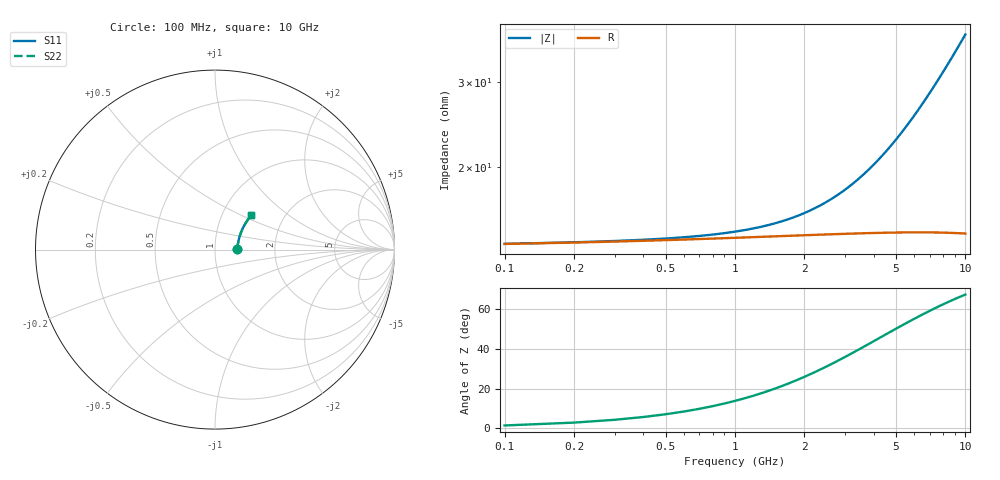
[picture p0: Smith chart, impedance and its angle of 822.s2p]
# Hz S RI R 50.00
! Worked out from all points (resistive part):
!   100 points, 100 MHz to 10 GHz, reference 50 ohm
!   read as one part in series: R = 13.9 ohm at 100 MHz
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1e8  0.122 0.00217  0.8779 -0.00322  0.8779 -0.00322  0.122 0.00217
2e8  0.1228 0.00433  0.8772 -0.00644  0.8772 -0.00644  0.1228 0.00433
3e8  0.1233 0.00649  0.8767 -0.00965  0.8767 -0.00965  0.1233 0.00649
8e8  0.1253 0.0172  0.8746 -0.0256  0.8746 -0.0256  0.1253 0.0172
1.1e9  0.1264 0.0236  0.8735 -0.0352  0.8735 -0.0352  0.1264 0.0236
1.4e9  0.1275 0.03  0.8724 -0.0447  0.8724 -0.0447  0.1275 0.03
1.8e9  0.129 0.0385  0.8708 -0.0574  0.8708 -0.0574  0.129 0.0385
2.1e9  0.1303 0.0448  0.8695 -0.0669  0.8695 -0.0669  0.1303 0.0448
2.5e9  0.1321 0.0531  0.8675 -0.0795  0.8675 -0.0795  0.1321 0.0531
2.9e9  0.1341 0.0614  0.8654 -0.092  0.8654 -0.092  0.1341 0.0614
3.4e9  0.1369 0.0717  0.8624 -0.1075  0.8624 -0.1075  0.1369 0.0717
4.2e9  0.1421 0.0878  0.8568 -0.1321  0.8568 -0.1321  0.1421 0.0878
5.1e9  0.1489 0.1055  0.8495 -0.1593  0.8495 -0.1593  0.1489 0.1055
5.9e9  0.1558 0.1208  0.8421 -0.183  0.8421 -0.183  0.1558 0.1208
6.7e9  0.1635 0.1355  0.8338 -0.2062  0.8338 -0.2062  0.1635 0.1355
7.2e9  0.1688 0.1445  0.8281 -0.2204  0.8281 -0.2204  0.1688 0.1445
7.6e9  0.1731 0.1515  0.8234 -0.2317  0.8234 -0.2317  0.1731 0.1515
8e9  0.1777 0.1583  0.8185 -0.2428  0.8185 -0.2428  0.1777 0.1583
8.4e9  0.1824 0.165  0.8134 -0.2537  0.8134 -0.2537  0.1824 0.165
8.8e9  0.1873 0.1715  0.8081 -0.2644  0.8081 -0.2644  0.1873 0.1715
9.2e9  0.1924 0.1779  0.8026 -0.275  0.8026 -0.275  0.1924 0.1779
1e10  0.2029 0.1901  0.7911 -0.2957  0.7911 -0.2957  0.2029 0.1901
